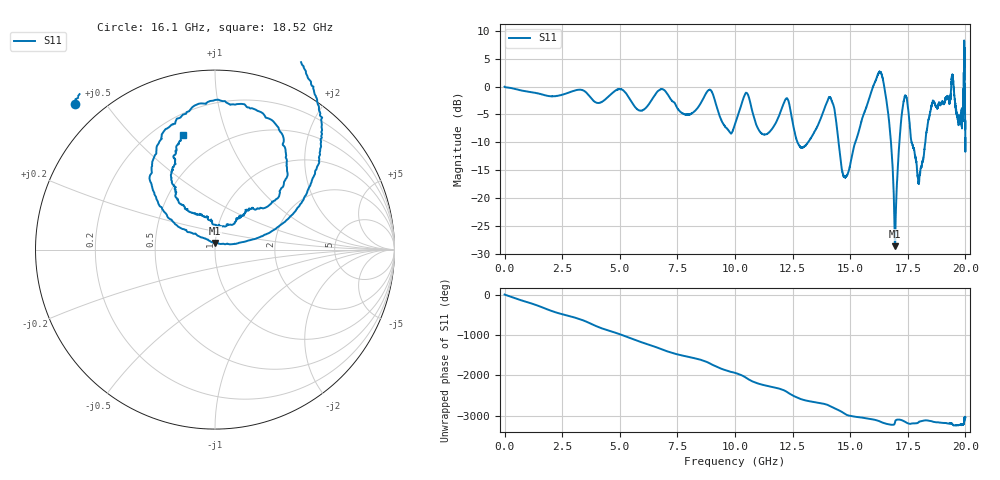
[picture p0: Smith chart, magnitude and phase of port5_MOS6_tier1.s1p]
! Created with skrf 1.8.0 (http://scikit-rf.org).
# GHz S RI R 50.0
!freq ReS11 ImS11
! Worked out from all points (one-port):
!   10001 points, 1 MHz to 20 GHz, reference 50 ohm
!   lowest |S11| = -28.7 dB at 16.95 GHz (marker M1), VSWR 1.08, Z = 49.7 + j3.66 ohm
!   |S11| at or under -10 dB: 12.71 GHz to 13.17 GHz (459.5 MHz wide, 3.55 % of centre); 14.49 GHz to 15.22 GHz (731.2 MHz wide, 4.92 % of centre); 17.66 GHz to 18.26 GHz (604.5 MHz wide, 3.37 % of centre) (the widest 3 of 5)
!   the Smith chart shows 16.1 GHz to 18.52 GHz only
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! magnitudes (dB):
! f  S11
! 1 MHz  0.0
! 2.501 GHz  -1.5
! 5.001 GHz  -0.4
! 5.851 GHz  -4.3
! 6.813 GHz  -0.5
! 7.501 GHz  -3.9
! 8.113 GHz  -4.9
! 8.907 GHz  -0.6
! 9.545 GHz  -7.0
! 10 GHz  -6.8
! 10.49 GHz  -1.1
! 11.18 GHz  -8.5
! 12.22 GHz  -2.2
! 12.5 GHz  -6.4
! 12.99 GHz  -10.9
! 14.14 GHz  -2.0
! 14.69 GHz  -15.8
! 15 GHz  -14.0
! 16.31 GHz  2.6
! 16.66 GHz  -5.3
! 16.95 GHz  -28.7
! 17.27 GHz  -4.1
! 17.5 GHz  -3.6
! 17.99 GHz  -17.1
! 18.59 GHz  -2.6
! 19.44 GHz  1.9
! 19.68 GHz  -5.9
! 20 GHz  -9.3
